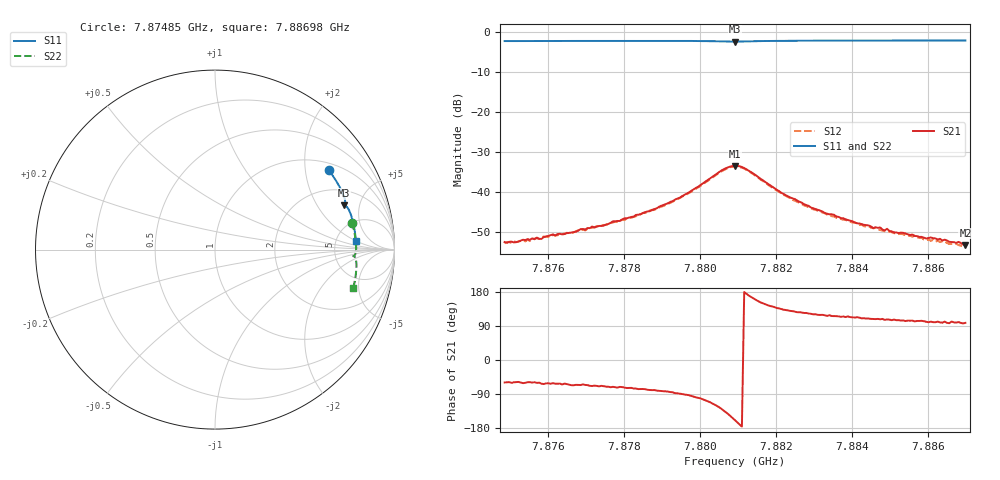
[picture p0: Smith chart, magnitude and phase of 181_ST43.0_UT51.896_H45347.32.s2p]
#  HZ  S  DB  R  50.00
! Rohde & Schwarz Vector Network Analyzer
! Rohde-Schwarz,ZNB20-2Port,1311601062101988,3.16
! Created: UTC 1/12/2023, 6:42:49 PM
! freq[Hz]  db:S11  ang:S11  db:S21  ang:S21  db:S12  ang:S12  db:S22  ang:S22
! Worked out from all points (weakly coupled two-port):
!   201 points, 7.87485 GHz to 7.88698 GHz, reference 50 ohm
!   highest |S21| = -33.42 dB at 7.88091 GHz (marker M1); lowest = -53.2 dB at 7.88698 GHz (marker M2)
!   lowest |S11| = -2.4 dB at 7.88091 GHz (marker M3), VSWR 7.38, Z = 151 + j177 ohm
!   |S11| at or under -10 dB: nowhere
!   |S22| runs from -2.3 to -1.9 dB; largest |S21 - S12| = 0.0014
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7.874846e9  -2.24 34.9  -52.45 -59.3  -52.78 -59.6  -2.18 11.0
7.875513e9  -2.22 33.1  -51.92 -58.5  -52.17 -64.1  -2.15 9.3
7.875695e9  -2.22 32.6  -51.35 -60.4  -51.51 -63.1  -2.15 9.0
7.875817e9  -2.22 32.2  -51.67 -62.5  -51.25 -65.8  -2.16 8.7
7.87612e9  -2.22 31.4  -50.54 -61.1  -50.69 -65.7  -2.13 8.0
7.876362e9  -2.21 30.8  -50.56 -64.7  -50.44 -69.1  -2.13 7.4
7.876908e9  -2.20 29.3  -49.20 -64.3  -49.32 -70.7  -2.12 6.0
7.877879e9  -2.19 26.6  -47.20 -71.0  -47.20 -75.2  -2.09 3.9
7.87891e9  -2.19 23.7  -43.65 -81.2  -43.86 -84.6  -2.08 1.4
7.879698e9  -2.20 21.5  -40.05 -92.9  -40.20 -97.3  -2.09 -0.5
7.880608e9  -2.32 19.1  -34.30 -133.1  -34.51 -136.1  -2.21 -2.6
7.880911e9  -2.37 18.9  -33.42 -158.9  -33.59 -162.5  -2.26 -2.7
7.881154e9  -2.34 18.7  -33.96 179.4  -34.11 176.1  -2.23 -2.7
7.882125e9  -2.17 16.3  -40.12 134.7  -40.24 131.0  -2.06 -4.6
7.882974e9  -2.13 13.9  -44.03 120.4  -44.29 118.3  -2.01 -6.7
7.884187e9  -2.11 10.7  -47.84 112.0  -48.21 107.8  -1.98 -9.5
7.884915e9  -2.11 8.7  -49.15 107.1  -49.98 104.4  -1.97 -11.0
7.884975e9  -2.10 8.6  -49.68 106.7  -49.90 104.4  -1.96 -11.2
7.885642e9  -2.10 6.8  -50.94 101.8  -50.87 100.8  -1.95 -12.7
7.885946e9  -2.09 6.0  -51.57 100.8  -52.04 98.9  -1.95 -13.3
7.88631e9  -2.09 5.1  -51.65 99.3  -52.42 98.3  -1.95 -14.1
7.886977e9  -2.08 3.3  -53.20 97.9  -53.34 96.3  -1.93 -15.5
